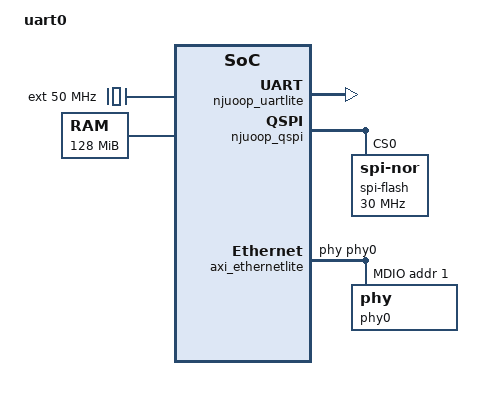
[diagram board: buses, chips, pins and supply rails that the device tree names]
/dts-v1/;

/ {
	#address-cells = <0x1>;
	#size-cells = <0x1>;
	compatible = "noop";
	model = "uart0";

	chosen {
	  stdout-path = "serial:115200ns";
	  bootargs = "console=tty1 lpj=9600700 console=ttyS0,115200n8 earlyprintk cca=0 root=/dev/mmcblk0p2 rootfstype=ext4 mem=512M rootwait";
	};

	cpus {
		#address-cells = <1>;
		#size-cells = <0>;
		cpu@0 {
			device_type = "cpu";
			compatible = "mips,4Kc";
			clocks	= <&ext>;
			reg = <0>;
		};
	};

	aliases {
	  serial = &njuoop_uartlite;
	  console = &njuoop_uartlite;
	  spi0 = &njuoop_qspi;
	  ethernet = &axi_ethernetlite;
	};

	ext: ext {
		compatible = "fixed-clock";
		#clock-cells = <0>;
	};

	memory {
		device_type = "memory";
		/* ddr start at 256M and size 128M */
		reg = <0x00000000 0x8000000>;
	};

	njuoop_uartlite: serial@bfe50000 {
	  device_type = "serial";
	  compatible = "njuoop_uartlite";
	  reg = <0x1fe50000 0x1000>;
	  reg-shift = <2>;
	};

	njuoop_qspi: spi@bfe80000 {
        #address-cells = <1>;
        #size-cells = <0>;
		compatible = "xlnx,xps-spi-2.00.a";
		reg = <0x1fe80000 0x10000>;
		fifo-size = <256>;
		xlnx,spi-mode = <2>; //quad spi mode

        spi-flash@0 {
            compatible = "jedec,spi-nor";
            reg = <0>; // Chip select 0
            spi-max-frequency = <30000000>;
        };
	};

	axi_ethernetlite: ethernet@bff00000 {
		compatible = "xlnx,xps-ethernetlite-1.00.a";
		device_type = "network";
		local-mac-address = [08 86 4C 0D F7 09];
		phy-handle = <&phy0>;
		reg = <0x1ff00000 0x10000>;
		xlnx,duplex = <0x1>;
		xlnx,include-global-buffers = <0x1>;
		xlnx,include-internal-loopback = <0x0>;
		xlnx,include-mdio = <0x1>;
		xlnx,instance = "axi_ethernetlite_inst";
		xlnx,rx-ping-pong = <0x1>;
		xlnx,s-axi-id-width = <0x1>;
		xlnx,tx-ping-pong = <0x1>;
		xlnx,use-internal = <0x0>;
		mdio {
			#address-cells = <1>;
			#size-cells = <0>;
			phy0: phy@1 {
				device_type = "ethernet-phy";
				reg = <1>;
			} ;
		} ;
    } ;
};

&ext {
	clock-frequency = <50000000>;
};
